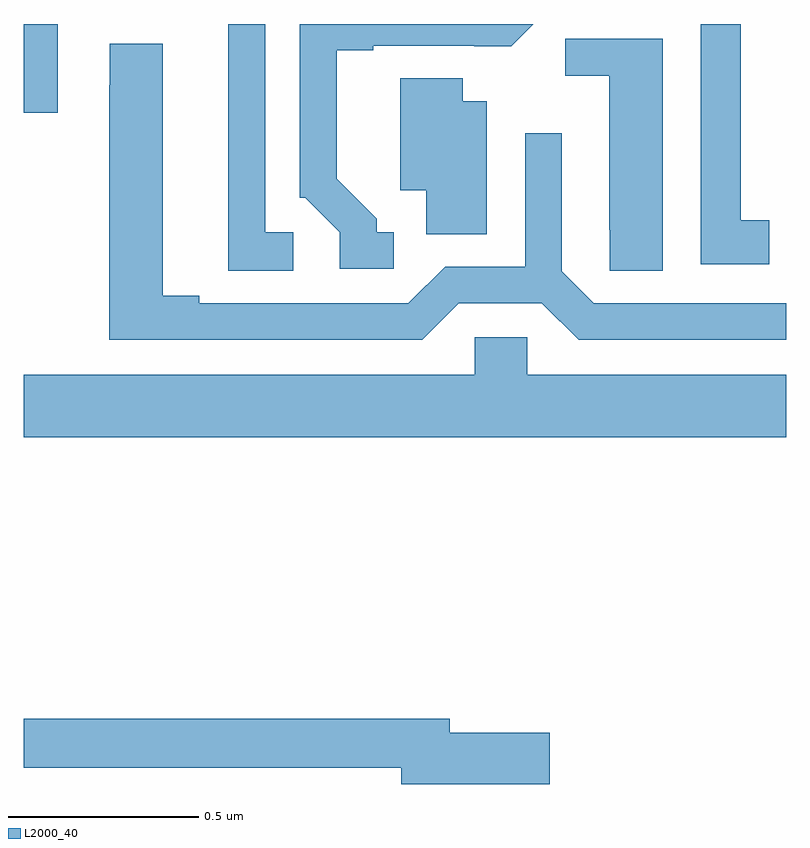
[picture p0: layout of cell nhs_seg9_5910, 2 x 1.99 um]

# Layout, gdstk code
import gdstk
lib = gdstk.Library(unit=1e-6, precision=1e-09)
def R(c, l, rs):  # rectangles x0, y0, x1, y1
    for r in rs: c.add(gdstk.rectangle(r[:2], r[2:], *l))
def P(c, l, *ps):  # polygons
    for p in ps: c.add(gdstk.Polygon(p, *l))
L2000_40 = (2000, 40)

nhs_seg9_5910 = lib.new_cell('nhs_seg9_5910')
R(nhs_seg9_5910, L2000_40, [(185,1201.267,185.089,1201.5)])
P(nhs_seg9_5910, L2000_40, [(185.971,1200.954),(185.926,1200.954),(185.926,1200.989),(185.821,1201.094),(185.821,1201.431),(185.917,1201.431),(185.917,1201.443),(186.182,1201.443),(186.182,1201.442),(186.278,1201.442),(186.336,1201.5),(185.724,1201.5),(185.724,1201.044),(185.739,1201.044),(185.829,1200.954),(185.829,1200.858),(185.971,1200.858)],
  [(186.955,1200.986),(186.88,1200.986),(186.88,1201.5),(186.776,1201.5),(186.776,1200.87),(186.955,1200.87)],
  [(185.707,1200.954),(185.634,1200.954),(185.634,1201.5),(185.537,1201.5),(185.537,1200.853),(185.707,1200.853)],
  [(186.676,1201.461),(186.42,1201.461),(186.42,1201.364),(186.536,1201.364),(186.536,1200.961),(186.537,1200.961),(186.537,1200.853),(186.676,1200.853)],
  [(186.141,1200.768),(186.359,1200.768),(186.455,1200.672),(187,1200.672),(187,1200.768),(186.495,1200.768),(186.411,1200.852),(186.411,1201.213),(186.315,1201.213),(186.315,1200.864),(186.105,1200.864),(186.009,1200.768),(185.461,1200.768),(185.461,1200.788),(185.365,1200.788),(185.365,1201.448),(185.226,1201.448),(185.226,1201.34),(185.225,1201.34),(185.225,1200.672),(186.045,1200.672)],
  [(186.214,1201.297),(186.151,1201.297),(186.151,1201.358),(185.987,1201.358),(185.987,1201.064),(186.056,1201.064),(186.056,1200.949),(186.214,1200.949)],
  [(187,1200.58),(186.321,1200.58),(186.321,1200.678),(186.183,1200.678),(186.183,1200.58),(185,1200.58),(185,1200.416),(187,1200.416)],
  [(186.379,1199.642),(186.118,1199.642),(186.118,1199.678),(185,1199.678),(185,1199.55),(185.99,1199.55),(185.99,1199.507),(186.379,1199.507)])

lib.write_gds('nhs_seg9_5910.gds')
